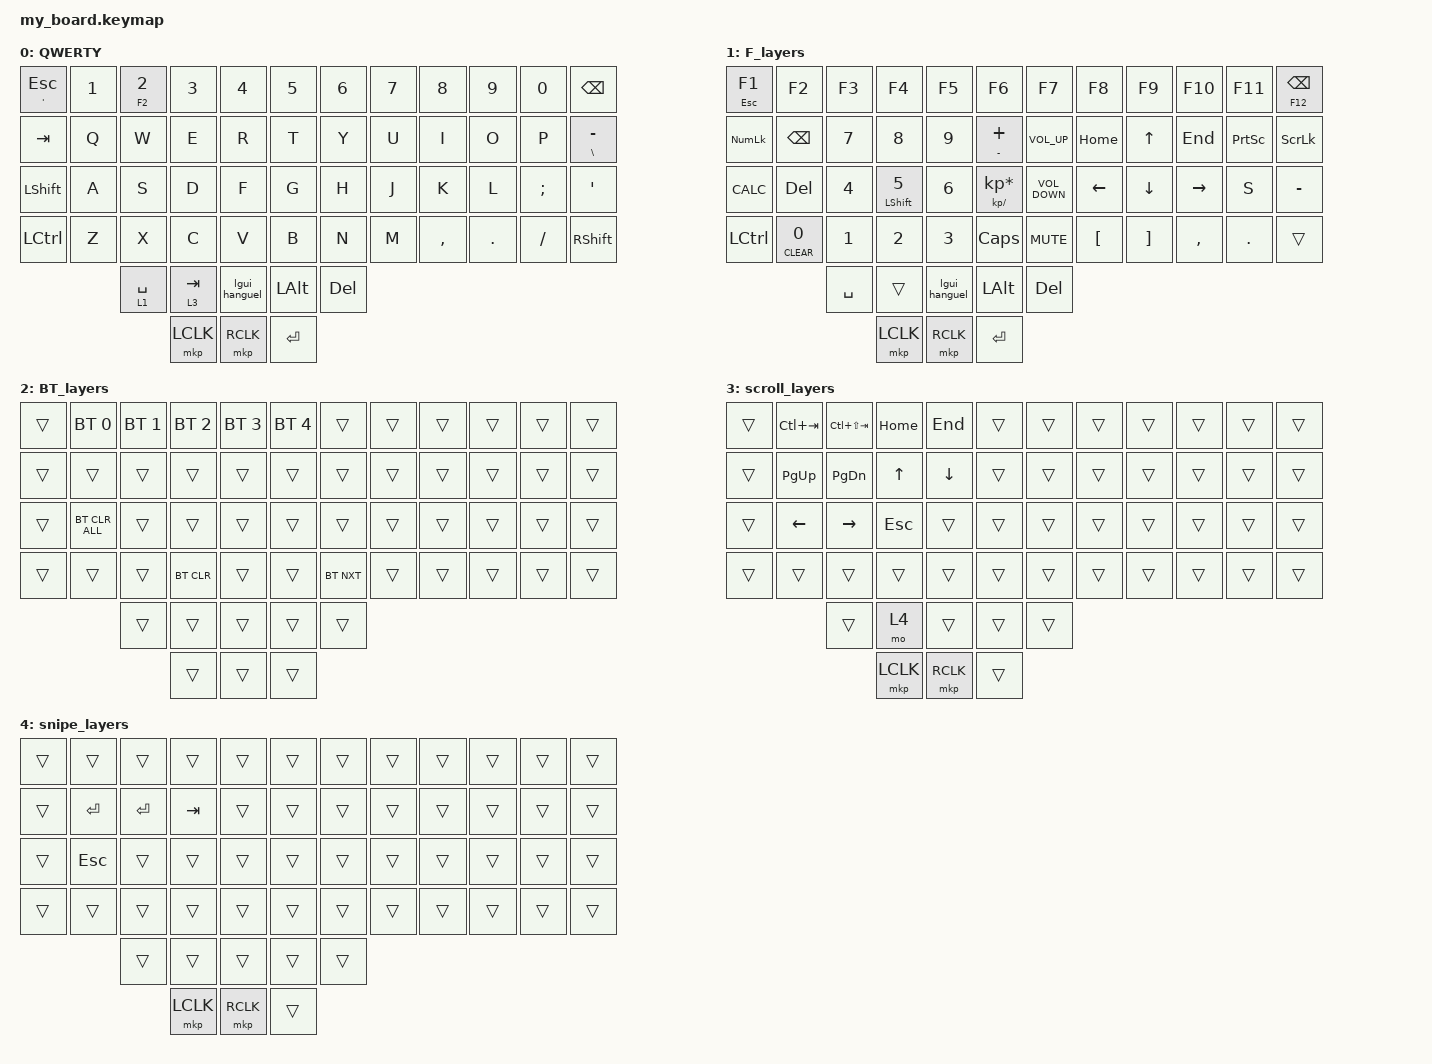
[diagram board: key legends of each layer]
#include <behaviors.dtsi>
#include <dt-bindings/zmk/bt.h>
#include <dt-bindings/zmk/keys.h>
#include <dt-bindings/zmk/mouse.h>
#include <dt-bindings/zmk/pointing.h>

/ {
  macros {
    To0_macro: To0_macro {
      compatible = "zmk,behavior-macro";
      label = "TO0_MACRO";
      #binding-cells = <0>;
      bindings = <&to 0>;
    };

    To2_macro: To2_macro {
      compatible = "zmk,behavior-macro";
      label = "TO2_MACRO";
      #binding-cells = <0>;
      bindings =
        <&to 2 &macro_wait_time 30>;
    };
  };

  combos {
    compatible = "zmk,combos";

    Next { bindings = <&kp PAGE_DOWN>; key-positions = <37 38>; layers = <0 1>; };
    Previous { bindings = <&kp PAGE_UP>; key-positions = <39 38>; layers = <0 1>; };

    Parenthesis_L { bindings = <&kp LEFT_PARENTHESIS>; key-positions = <7 6>; layers = <0 2>; };
    Parenthesis_R { bindings = <&kp RIGHT_PARENTHESIS>; key-positions = <8 7>; layers = <0 1>; };

    Page_down { bindings = <&kp PAGE_DOWN>; key-positions = <45 46>; layers = <0 1>; };
    Page_up { bindings = <&kp PAGE_UP>; key-positions = <46 47>; layers = <0 1>; };

    Hanja { bindings = <&kp LANG_HANJA>; key-positions = <24 12>; layers = <0 1>; };

    Up { bindings = <&kp UP_ARROW>; key-positions = <22 34>; };
    Down { bindings = <&kp DOWN_ARROW>; key-positions = <34 46>; };
    Right { bindings = <&kp RIGHT_ARROW>; key-positions = <34 35>; };
    Left { bindings = <&kp LEFT_ARROW>; key-positions = <33 34>; };

    ScrollHold { bindings = <&kp SPACE>; key-positions = <44 45>; layers = <0 2>; };
    ScrollDrag { bindings = <&kp ENTER>; key-positions = <43 44>; layers = <0 1>; };
    ScrollLeft { bindings = <&kp LEFT_ARROW>; key-positions = <39 40>; layers = <0 1>; };
    ScrollRight { bindings = <&kp RIGHT_ARROW>; key-positions = <40 41>; layers = <0 1>; };
    ScrollClick { bindings = <&kp ENTER>; key-positions = <53 54>; };

    LeftShift { bindings = <&kp LEFT_SHIFT>; key-positions = <27 28>; layers = <0 1>; };
    RightShift { bindings = <&kp RIGHT_SHIFT>; key-positions = <31 32>; layers = <0 1>; };

    Equal { bindings = <&kp EQUAL>; key-positions = <10 11>; layers = <0 1>; };
  };

  behaviors {
    lgui_hanguel: lgui_hanguel {
      compatible = "zmk,behavior-tap-dance";
      label = "LGUI_HANGUEL";
      #binding-cells = <0>;
      bindings = <&kp LGUI>, <&kp LANG_HANGEUL>;
    };
  };

  keymap {
    compatible = "zmk,keymap";

    QWERTY {
      bindings = <
        &mt SQT ESC         &kp N1            &mt F2 N2           &kp N3   &kp N4   &kp N5   &kp N6   &kp N7   &kp N8   &kp N9   &kp N0   &kp BACKSPACE
        &kp TAB                  &kp Q             &kp W                    &kp E    &kp R    &kp T    &kp Y    &kp U    &kp I    &kp O    &kp P    &mt BSLH MINUS
        &kp LEFT_SHIFT           &kp A             &kp S                    &kp D    &kp F    &kp G    &kp H    &kp J    &kp K    &kp L    &kp SEMI &kp SQT
        &kp LEFT_CONTROL         &kp Z             &kp X                    &kp C    &kp V    &kp B    &kp N    &kp M    &kp COMMA &kp DOT  &kp FSLH &kp RIGHT_SHIFT

                                  &lt 1 SPACE   &lt 3 TAB   &lgui_hanguel  &kp LEFT_ALT  &kp DELETE
                                                     &mkp LCLK           &mkp RCLK       &kp ENTER
      >;
    };

    F_layers {
      bindings = <
        &mt ESC F1          &kp F2            &kp F3             &kp F4            &kp F5            &kp F6              &kp F7            &kp F8            &kp F9            &kp F10           &kp F11           &mt F12 BACKSPACE
        &kp KP_NUMLOCK           &kp BACKSPACE     &kp N7             &kp N8            &kp N9            &mt MINUS PLUS  &kp C_VOLUME_UP    &kp HOME          &kp UP            &kp END           &kp PRINTSCREEN   &kp SCROLLLOCK
        &kp K_CALC               &kp DELETE        &kp NUMBER_4       &mt LEFT_SHIFT N5 &kp NUMBER_6  &mt KP_DIVIDE KP_MULTIPLY  &kp C_VOLUME_DOWN &kp LEFT          &kp DOWN          &kp RIGHT         &kp S     &kp MINUS
        &kp LCTRL                &mt CLEAR NUMBER_0 &kp NUMBER_1  &kp NUMBER_2      &kp NUMBER_3      &kp CAPSLOCK         &kp K_MUTE         &kp LEFT_BRACKET  &kp RIGHT_BRACKET &kp COMMA         &kp DOT           &trans

                                  &kp SPACE           &trans            &lgui_hanguel     &kp LEFT_ALT      &kp DELETE
                                                     &mkp LCLK          &mkp RCLK         &kp ENTER
      >;
    };

    BT_layers {
      bindings = <
        &trans  &bt BT_SEL 0  &bt BT_SEL 1  &bt BT_SEL 2  &bt BT_SEL 3  &bt BT_SEL 4  &trans  &trans  &trans  &trans  &trans  &trans
        &trans  &trans        &trans        &trans        &trans        &trans        &trans  &trans  &trans  &trans  &trans  &trans
        &trans  &bt BT_CLR_ALL &trans       &trans        &trans        &trans        &trans  &trans  &trans  &trans  &trans  &trans
        &trans  &trans        &trans        &bt BT_CLR    &trans        &trans        &bt BT_NXT &trans &trans  &trans  &trans  &trans

                                 &trans  &trans  &trans  &trans  &trans
                                         &trans  &trans  &trans
      >;
    };

    scroll_layers {
      bindings = <
        &trans  &kp LC(TAB)      &kp LC(LS(TAB))   &kp HOME      &kp END        &trans  &trans  &trans  &trans  &trans  &trans  &trans
        &trans  &kp PAGE_UP    &kp PAGE_DOWN &kp UP_ARROW  &kp DOWN_ARROW &trans  &trans  &trans  &trans  &trans  &trans  &trans
        &trans  &kp LEFT       &kp RIGHT     &kp ESC       &trans         &trans  &trans  &trans  &trans  &trans  &trans  &trans
        &trans  &trans         &trans        &trans        &trans         &trans  &trans  &trans  &trans  &trans  &trans  &trans

                                 &trans  &mo 4   &trans  &trans  &trans
                                         &mkp LCLK &mkp RCLK &trans
      >;
    };

    snipe_layers {
      bindings = <
        &trans  &trans   &trans       &trans     &trans  &trans  &trans  &trans  &trans  &trans  &trans  &trans
        &trans  &kp ENTER &kp ENTER &kp TAB  &trans  &trans  &trans  &trans  &trans  &trans  &trans  &trans
        &trans  &kp ESC  &trans       &trans     &trans  &trans  &trans  &trans  &trans  &trans  &trans  &trans
        &trans  &trans   &trans       &trans     &trans  &trans  &trans  &trans  &trans  &trans  &trans  &trans

                                 &trans  &trans  &trans  &trans  &trans
                                         &mkp LCLK &mkp RCLK &trans
      >;
    };
  };
};
